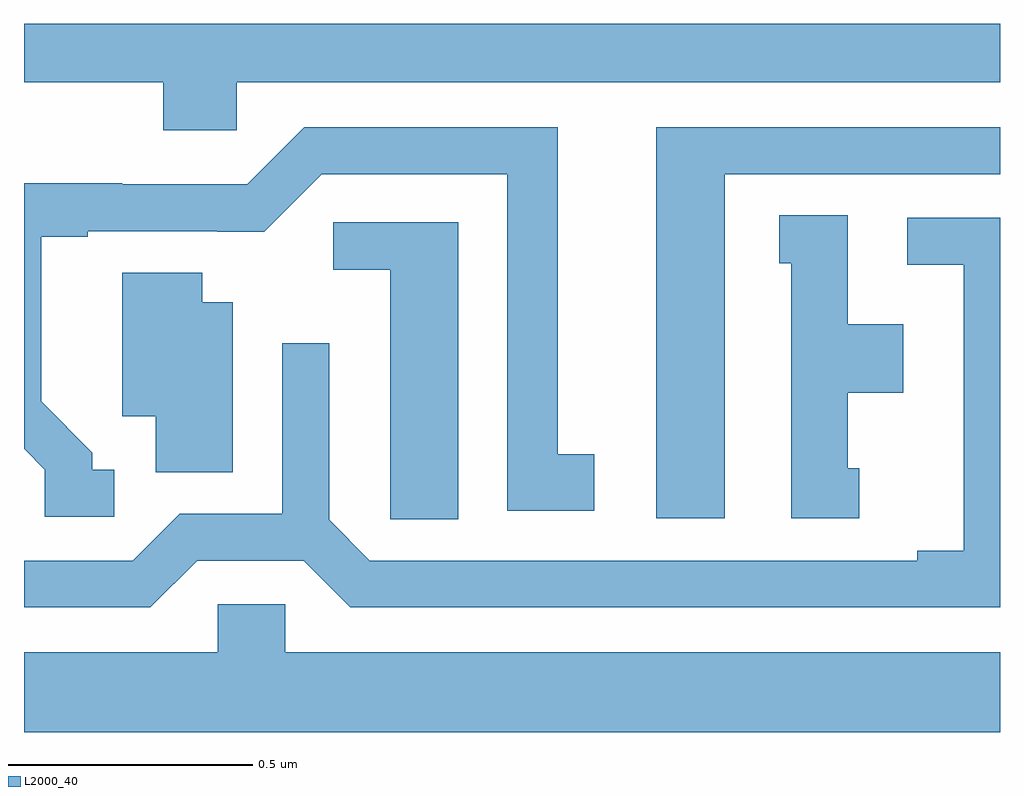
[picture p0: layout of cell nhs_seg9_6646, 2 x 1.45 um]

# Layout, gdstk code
import gdstk
lib = gdstk.Library(unit=1e-6, precision=1e-09)
def P(c, l, *ps):  # polygons
    for p in ps: c.add(gdstk.Polygon(p, *l))
L2000_40 = (2000, 40)

nhs_seg9_6646 = lib.new_cell('nhs_seg9_6646')
P(nhs_seg9_6646, L2000_40, [(194.436,1236.38),(196,1236.38),(196,1236.5),(194,1236.5),(194,1236.38),(194.285,1236.38),(194.285,1236.282),(194.436,1236.282)],
  [(194.185,1235.586),(194.14,1235.586),(194.14,1235.621),(194.035,1235.726),(194.035,1236.063),(194.131,1236.063),(194.131,1236.075),(194.396,1236.075),(194.396,1236.074),(194.492,1236.074),(194.61,1236.192),(194.99,1236.192),(194.99,1235.502),(195.169,1235.502),(195.169,1235.618),(195.094,1235.618),(195.094,1236.288),(194.574,1236.288),(194.457,1236.171),(194.201,1236.171),(194.201,1236.173),(194,1236.173),(194,1235.629),(194.043,1235.586),(194.043,1235.49),(194.185,1235.49)],
  [(195.436,1236.192),(196,1236.192),(196,1236.288),(195.296,1236.288),(195.296,1235.487),(195.436,1235.487)],
  [(195.712,1235.589),(195.688,1235.589),(195.688,1235.744),(195.802,1235.744),(195.802,1235.884),(195.688,1235.884),(195.688,1236.107),(195.548,1236.107),(195.548,1236.009),(195.572,1236.009),(195.572,1235.487),(195.712,1235.487)],
  [(194.355,1235.4),(194.573,1235.4),(194.669,1235.304),(196,1235.304),(196,1236.102),(195.81,1236.102),(195.81,1236.006),(195.926,1236.006),(195.926,1235.42),(195.83,1235.42),(195.83,1235.4),(194.709,1235.4),(194.625,1235.484),(194.625,1235.845),(194.529,1235.845),(194.529,1235.496),(194.319,1235.496),(194.223,1235.4),(194,1235.4),(194,1235.304),(194.259,1235.304)],
  [(194.89,1236.093),(194.634,1236.093),(194.634,1235.996),(194.75,1235.996),(194.75,1235.593),(194.751,1235.593),(194.751,1235.485),(194.89,1235.485)],
  [(194.428,1235.929),(194.365,1235.929),(194.365,1235.99),(194.201,1235.99),(194.201,1235.696),(194.27,1235.696),(194.27,1235.581),(194.428,1235.581)],
  [(196,1235.212),(194.535,1235.212),(194.535,1235.31),(194.397,1235.31),(194.397,1235.212),(194,1235.212),(194,1235.048),(196,1235.048)])

lib.write_gds('nhs_seg9_6646.gds')
